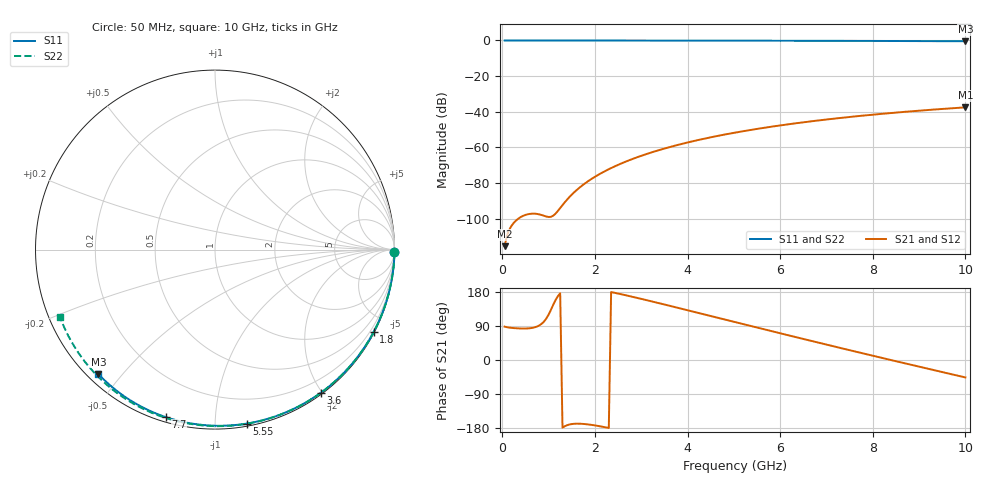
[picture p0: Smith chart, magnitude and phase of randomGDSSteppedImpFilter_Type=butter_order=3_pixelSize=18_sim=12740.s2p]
! freq	dB(S11)	phase(S11)	dB(S12)	phase(S12)
!  dB(S21)	phase(S21)	dB(S22)	phase(S22)
!S-par simulation data
#  GHz  S  DB  R 50
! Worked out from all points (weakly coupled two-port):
!   200 points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, 50 MHz to 10 GHz, reference 50 ohm
!   highest |S21| = -37.51 dB at 10 GHz (marker M1); lowest = -115.3 dB at 50 MHz (marker M2)
!   lowest |S11| = -0.4 dB at 10 GHz (marker M3), VSWR 39.10, Z = 1.52 - j21.6 ohm
!   |S11| at or under -10 dB: nowhere
!   |S22| runs from -0.5 to 0.0 dB; largest |S21 - S12| = 0
!   S11 on the Smith chart (normalised r, x): 50 MHz: open; 1.8 GHz: 0.04, -4.11; 3.6 GHz: 0.02, -1.99; 5.55 GHz: 0.02, -1.20; 7.7 GHz: 0.02, -0.75; 10 GHz: 0.03, -0.43
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0.05  -0.00 -0.8  -115.34 88.1  -115.34 88.1  -0.00 -0.9
0.45  -0.01 -6.9  -98.33 83.0  -98.33 83.0  -0.01 -8.2
0.9  -0.02 -13.8  -98.31 101.3  -98.31 101.3  -0.02 -16.3
1.3  -0.02 -19.8  -92.31 -178.6  -92.31 -178.6  -0.03 -23.4
1.75  -0.03 -26.6  -80.83 -168.7  -80.83 -168.7  -0.04 -31.3
1.8  -0.03 -27.3  -79.88 -169.2  -79.88 -169.2  -0.04 -32.2
1.95  -0.04 -29.5  -77.25 -171.6  -77.25 -171.6  -0.04 -34.8
2.1  -0.04 -31.8  -74.93 -174.7  -74.93 -174.7  -0.05 -37.4
2.3  -0.04 -34.7  -72.18 -179.4  -72.18 -179.4  -0.05 -40.8
2.5  -0.05 -37.6  -69.76 175.4  -69.76 175.4  -0.06 -44.2
2.9  -0.06 -43.4  -65.61 164.2  -65.61 164.2  -0.07 -51.0
3.4  -0.07 -50.6  -61.36 149.5  -61.36 149.5  -0.08 -59.3
3.6  -0.07 -53.4  -59.88 143.5  -59.88 143.5  -0.08 -62.6
4.3  -0.09 -63.1  -55.42 122.2  -55.42 122.2  -0.11 -73.9
5.05  -0.11 -73.2  -51.57 99.3  -51.57 99.3  -0.13 -85.5
5.55  -0.13 -79.7  -49.39 84.1  -49.39 84.1  -0.15 -93.1
6.1  -0.15 -86.8  -47.27 67.5  -47.27 67.5  -0.18 -101.2
6.7  -0.18 -94.3  -45.24 49.6  -45.24 49.6  -0.21 -110.0
7.7  -0.24 -106.4  -42.37 20.0  -42.37 20.0  -0.29 -124.2
8.35  -0.29 -114.1  -40.78 1.1  -40.78 1.1  -0.34 -133.3
9.2  -0.36 -124.0  -38.97 -23.3  -38.97 -23.3  -0.43 -145.2
10  -0.44 -133.1  -37.51 -46.0  -37.51 -46.0  -0.52 -156.6
